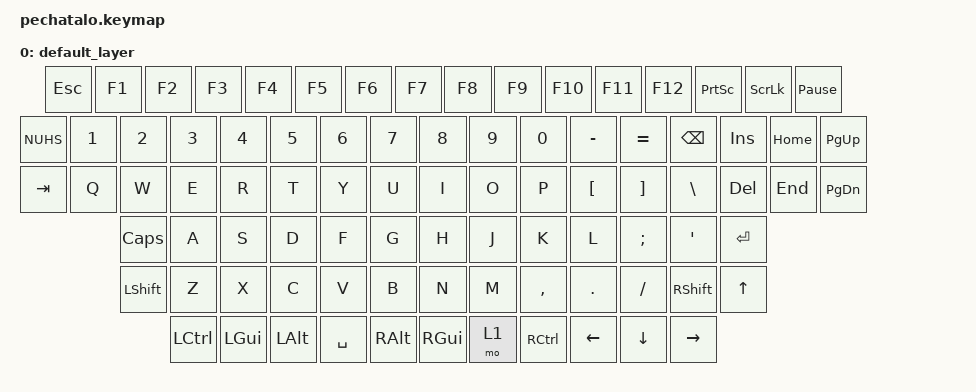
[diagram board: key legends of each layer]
/*
 * Copyright (c) 2021 Nick Winans
 *
 * SPDX-License-Identifier: MIT
 */

#include <behaviors.dtsi>
#include <dt-bindings/zmk/keys.h>


/ {
	keymap {
		compatible = "zmk,keymap";
		
		default_layer {
// ---------------------------------------------------------------------------------------------------------------
// | ESC |     | F1  | F2  | F3  |  F4 |  | F5  | F6  | F7  | F8  |  | F9  | F10 | F11 | F12|  | PS  | SL  | PB  |
// |  ~  |  1  |  2  |  3  |  4  |  5  |  6  |  7  |  8  |  9  |  0  |  -  |  =  |   BKSP   |  | INS | HM  | PUP |
// | TAB  |  Q  |  W  |  E  |  R  |  T  |  Y  |  U  |  I  |  O  |  P  |  [  |  ]  |   "|"   |  | DEL | END | PDN |
// | CAPS  |  A  |  S  |  D  |  F  |  G  |  H  |  J  |  K  |  L  |  ;  |  '  |     ENTER    |		     |
// |  SHIFT  |  Z  |  X  |  C  |  V  |  B  |  N  |  M  |  ,  |  .  |  /  |      SHIFT       |	 | UP  |     |
// |  CTL  |  WIN  |  ALT  |            SPACE              |  ALT  |  FN   |  MO(1) |  CTL  |  | LFT | DWN | RGHT|
// ---------------------------------------------------------------------------------------------------------------
			bindings = <
	&kp ESC    &kp F1  &kp F2  &kp F3  &kp F4    &kp F5  &kp F6  &kp F7  &kp F8    &kp F9  &kp F10  &kp F11  &kp F12    &kp PSCRN  &kp SLCK  &kp PAUSE_BREAK
	&kp NUHS &kp N1 &kp N2 &kp N3 &kp N4 &kp N5 &kp N6 &kp N7 &kp N8 &kp N9 &kp N0 &kp MINUS &kp EQUAL  &kp BSPC        &kp INS    &kp HOME  &kp PG_UP
	&kp TAB  &kp Q  &kp W  &kp E  &kp R  &kp T  &kp Y  &kp U  &kp I  &kp O  &kp P  &kp LBKT  &kp RBKT  &kp BSLH	&kp DEL    &kp END   &kp PG_DN
	&kp CLCK  &kp A  &kp S  &kp D  &kp F  &kp G  &kp H  &kp J  &kp K  &kp L  &kp SEMI &kp SQT           &kp RET
	&kp LSHFT   &kp Z  &kp X  &kp C  &kp V  &kp B  &kp N  &kp M  &kp COMMA &kp DOT &kp FSLH           &kp RSHFT		   &kp UP
	&kp LCTRL &kp LGUI &kp LALT             &kp SPACE                     &kp RALT  &kp RGUI  &mo 1   &kp RCTRL	&kp LEFT  &kp DOWN  &kp RIGHT
			>;
		};

		
	};
};
